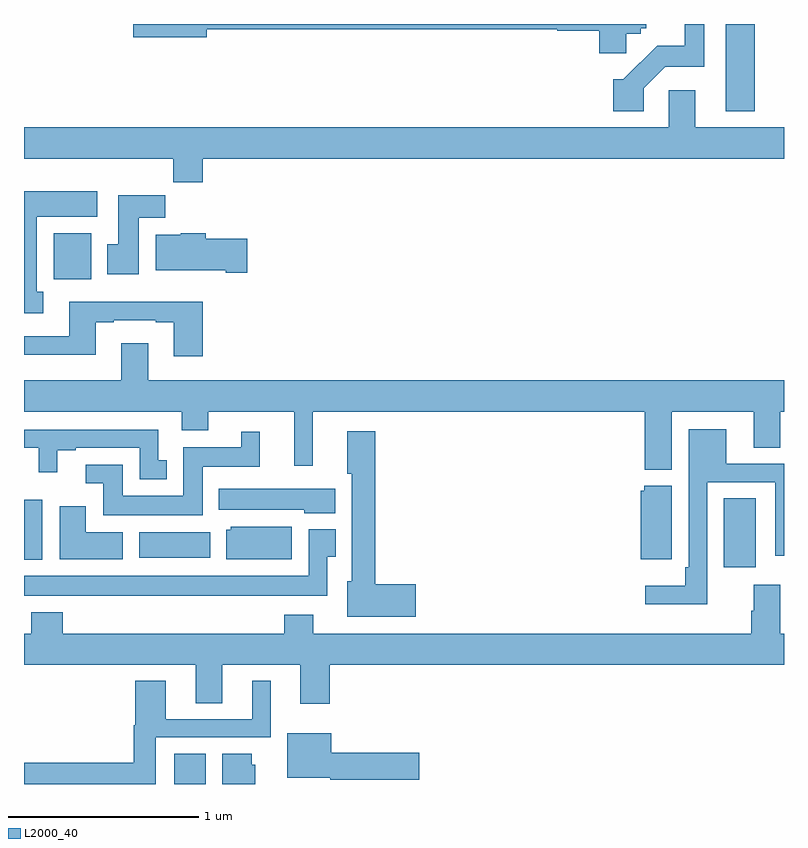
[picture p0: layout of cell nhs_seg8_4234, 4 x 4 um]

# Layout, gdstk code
import gdstk
lib = gdstk.Library(unit=1e-6, precision=1e-09)
def R(c, l, rs):  # rectangles x0, y0, x1, y1
    for r in rs: c.add(gdstk.rectangle(r[:2], r[2:], *l))
def P(c, l, *ps):  # polygons
    for p in ps: c.add(gdstk.Polygon(p, *l))
L2000_40 = (2000, 40)

nhs_seg8_4234 = lib.new_cell('nhs_seg8_4234')
R(nhs_seg8_4234, L2000_40, [(371.792,1087.9,371.956,1088.06), (374.684,1089.042,374.851,1089.404), (371,1089.08,371.095,1089.397), (371.606,1089.092,371.98,1089.226), (371.156,1090.556,371.353,1090.798), (374.693,1091.441,374.846,1091.9)])
P(nhs_seg8_4234, L2000_40, [(374.171,1091.85),(374.247,1091.85),(374.247,1091.877),(374.275,1091.877),(374.275,1091.9),(371.574,1091.9),(371.574,1091.83),(371.962,1091.83),(371.962,1091.872),(373.806,1091.872),(373.806,1091.864),(374.027,1091.864),(374.027,1091.745),(374.171,1091.745)],
  [(374.262,1091.562),(374.376,1091.676),(374.581,1091.676),(374.581,1091.9),(374.477,1091.9),(374.477,1091.786),(374.333,1091.786),(374.155,1091.608),(374.102,1091.608),(374.102,1091.442),(374.262,1091.442)],
  [(371.942,1091.192),(375,1091.192),(375,1091.356),(374.533,1091.356),(374.533,1091.551),(374.394,1091.551),(374.394,1091.356),(371,1091.356),(371,1091.192),(371.785,1091.192),(371.785,1091.068),(371.942,1091.068)],
  [(371.101,1090.49),(371.068,1090.49),(371.068,1090.886),(371.386,1090.886),(371.386,1091.02),(371,1091.02),(371,1090.377),(371.101,1090.377)],
  [(371.605,1090.88),(371.744,1090.88),(371.744,1090.999),(371.495,1090.999),(371.495,1090.74),(371.438,1090.74),(371.438,1090.584),(371.605,1090.584)],
  [(372.175,1090.77),(371.957,1090.77),(371.957,1090.798),(371.826,1090.798),(371.826,1090.792),(371.693,1090.792),(371.693,1090.604),(372.062,1090.604),(372.062,1090.592),(372.175,1090.592)],
  [(371.942,1090.438),(371.237,1090.438),(371.237,1090.257),(371,1090.257),(371,1090.16),(371.377,1090.16),(371.377,1090.329),(371.473,1090.329),(371.473,1090.341),(371.693,1090.341),(371.693,1090.329),(371.789,1090.329),(371.789,1090.152),(371.942,1090.152)],
  [(374.41,1089.86),(374.84,1089.86),(374.84,1089.67),(374.98,1089.67),(374.98,1089.86),(375,1089.86),(375,1090.024),(371.653,1090.024),(371.653,1090.219),(371.513,1090.219),(371.513,1090.024),(371,1090.024),(371,1089.86),(371.831,1089.86),(371.831,1089.761),(371.971,1089.761),(371.971,1089.86),(372.422,1089.86),(372.422,1089.576),(372.521,1089.576),(372.521,1089.86),(374.267,1089.86),(374.267,1089.554),(374.41,1089.554)],
  [(374.595,1089.489),(374.955,1089.489),(374.955,1089.102),(375,1089.102),(375,1089.585),(374.695,1089.585),(374.695,1089.766),(374.499,1089.766),(374.499,1089.04),(374.479,1089.04),(374.479,1088.944),(374.271,1088.944),(374.271,1088.846),(374.595,1088.846)],
  [(371.752,1089.603),(371.706,1089.603),(371.706,1089.765),(371,1089.765),(371,1089.669),(371.078,1089.669),(371.078,1089.54),(371.176,1089.54),(371.176,1089.657),(371.272,1089.657),(371.272,1089.669),(371.61,1089.669),(371.61,1089.503),(371.752,1089.503)],
  [(373.063,1088.951),(372.848,1088.951),(372.848,1089.757),(372.701,1089.757),(372.701,1089.534),(372.725,1089.534),(372.725,1088.967),(372.701,1088.967),(372.701,1088.78),(373.063,1088.78)],
  [(371.941,1089.569),(372.242,1089.569),(372.242,1089.754),(372.143,1089.754),(372.143,1089.673),(371.837,1089.673),(371.837,1089.418),(371.521,1089.418),(371.521,1089.579),(371.325,1089.579),(371.325,1089.483),(371.417,1089.483),(371.417,1089.314),(371.941,1089.314)],
  [(374.41,1089.469),(374.265,1089.469),(374.265,1089.444),(374.246,1089.444),(374.246,1089.083),(374.41,1089.083)],
  [(372.637,1089.454),(372.026,1089.454),(372.026,1089.344),(372.474,1089.344),(372.474,1089.326),(372.637,1089.326)],
  [(371.521,1089.226),(371.326,1089.226),(371.326,1089.361),(371.189,1089.361),(371.189,1089.083),(371.521,1089.083)],
  [(372.409,1089.253),(372.087,1089.253),(372.087,1089.237),(372.065,1089.237),(372.065,1089.083),(372.409,1089.083)],
  [(372.595,1089.097),(372.64,1089.097),(372.64,1089.241),(372.498,1089.241),(372.498,1088.995),(371,1088.995),(371,1088.891),(372.595,1088.891)],
  [(372.608,1088.528),(375,1088.528),(375,1088.692),(374.98,1088.692),(374.98,1088.95),(374.84,1088.95),(374.84,1088.813),(374.828,1088.813),(374.828,1088.692),(372.523,1088.692),(372.523,1088.791),(372.371,1088.791),(372.371,1088.692),(371.204,1088.692),(371.204,1088.803),(371.039,1088.803),(371.039,1088.692),(371,1088.692),(371,1088.528),(371.903,1088.528),(371.903,1088.326),(372.043,1088.326),(372.043,1088.528),(372.455,1088.528),(372.455,1088.322),(372.608,1088.322)],
  [(371.694,1088.145),(372.298,1088.145),(372.298,1088.443),(372.2,1088.443),(372.2,1088.241),(371.746,1088.241),(371.746,1088.443),(371.585,1088.443),(371.585,1088.21),(371.578,1088.21),(371.578,1088.012),(371,1088.012),(371,1087.9),(371.694,1087.9)],
  [(373.081,1088.064),(372.616,1088.064),(372.616,1088.167),(372.386,1088.167),(372.386,1087.934),(372.612,1087.934),(372.612,1087.922),(373.081,1087.922)],
  [(372.217,1088.001),(372.199,1088.001),(372.199,1088.06),(372.044,1088.06),(372.044,1087.9),(372.217,1087.9)])

lib.write_gds('nhs_seg8_4234.gds')
